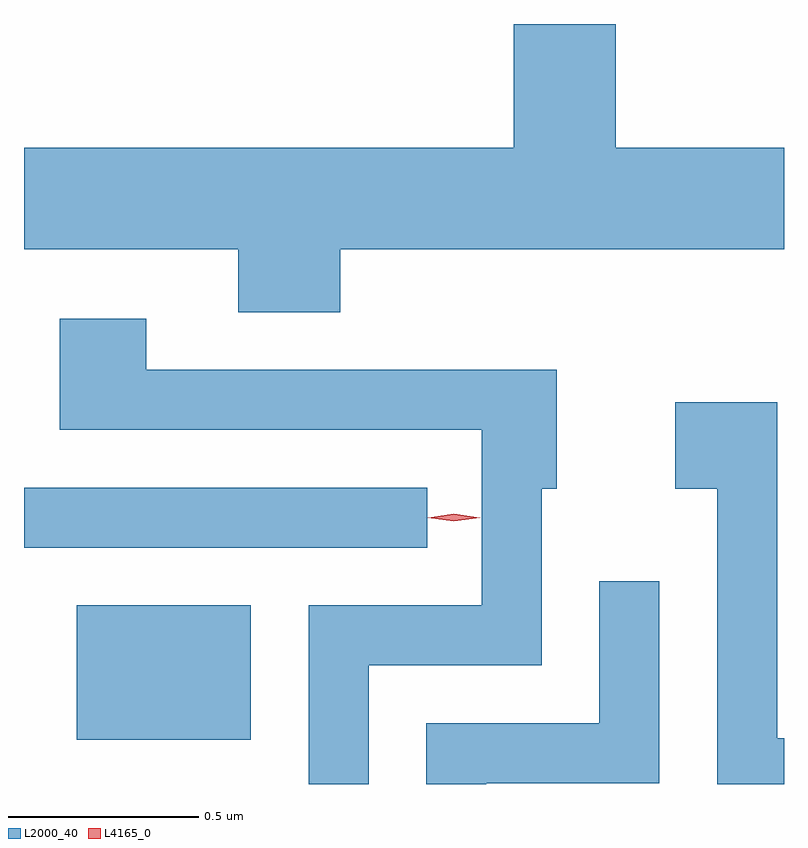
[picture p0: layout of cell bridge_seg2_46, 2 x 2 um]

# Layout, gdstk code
import gdstk
lib = gdstk.Library(unit=1e-6, precision=1e-09)
def R(c, l, rs):  # rectangles x0, y0, x1, y1
    for r in rs: c.add(gdstk.rectangle(r[:2], r[2:], *l))
def P(c, l, *ps):  # polygons
    for p in ps: c.add(gdstk.Polygon(p, *l))
L2000_40 = (2000, 40)
L4165_0 = (4165, 0)

bridge_seg2_46 = lib.new_cell('bridge_seg2_46')
R(bridge_seg2_46, L2000_40, [(1451.206,1067.006,1451.664,1067.359), (1451.067,1067.511,1452.128,1067.669)])
P(bridge_seg2_46, L2000_40, [(1451.899,1068.296),(1453.067,1068.296),(1453.067,1068.564),(1452.624,1068.564),(1452.624,1068.889),(1452.356,1068.889),(1452.356,1068.564),(1451.067,1068.564),(1451.067,1068.296),(1451.631,1068.296),(1451.631,1068.131),(1451.899,1068.131)],
  [(1451.974,1067.201),(1452.429,1067.201),(1452.429,1067.666),(1452.469,1067.666),(1452.469,1067.979),(1451.389,1067.979),(1451.389,1068.114),(1451.161,1068.114),(1451.161,1067.821),(1452.271,1067.821),(1452.271,1067.359),(1451.816,1067.359),(1451.816,1066.889),(1451.974,1066.889)],
  [(1453.067,1067.009),(1453.049,1067.009),(1453.049,1067.894),(1452.781,1067.894),(1452.781,1067.666),(1452.891,1067.666),(1452.891,1066.889),(1453.067,1066.889)],
  [(1452.284,1066.891),(1452.739,1066.891),(1452.739,1067.423),(1452.581,1067.423),(1452.581,1067.049),(1452.126,1067.049),(1452.126,1066.889),(1452.284,1066.889)])
P(bridge_seg2_46, L4165_0, [(1452.198,1067.58),(1452.129,1067.59),(1452.128,1067.59),(1452.129,1067.59),(1452.198,1067.6),(1452.267,1067.59),(1452.267,1067.59),(1452.267,1067.59)],
  [(1452.198,1067.58),(1452.132,1067.59),(1452.132,1067.59),(1452.132,1067.59),(1452.198,1067.6),(1452.264,1067.59),(1452.265,1067.59),(1452.264,1067.59)])

lib.write_gds('bridge_seg2_46.gds')
